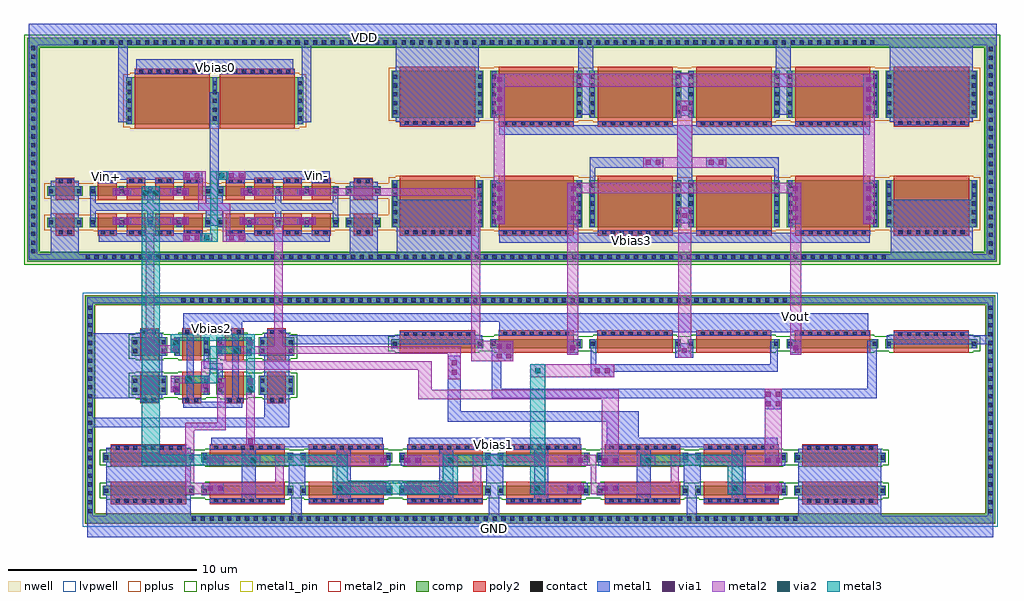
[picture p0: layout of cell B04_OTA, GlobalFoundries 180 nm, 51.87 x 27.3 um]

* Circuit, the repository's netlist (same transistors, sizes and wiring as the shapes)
* Extracted by KLayout with GF180MCU LVS runset on : 18/08/2026 17:05

.SUBCKT B04_OTA Vbias1 Vbias2 Vout VDD Vin\x2d Vin+ Vbias3 Vbias0 GND
M$1 \$16 Vbias0 VDD VDD pfet_03v3 L=4U W=5U AS=1.75P AD=1.75P PS=8.9U PD=8.9U
M$3 Vout Vbias3 \$19 VDD pfet_03v3 L=4U W=5U AS=2.2P AD=2.2P PS=11.76U PD=11.76U
M$5 VDD \$11 \$19 VDD pfet_03v3 L=4U W=5U AS=2.2P AD=2.2P PS=11.76U PD=11.76U
M$7 VDD \$11 \$21 VDD pfet_03v3 L=4U W=5U AS=2.2P AD=2.2P PS=11.76U PD=11.76U
M$9 \$21 Vbias3 \$11 VDD pfet_03v3 L=4U W=5U AS=2.2P AD=2.2P PS=11.76U PD=11.76U
M$11 VDD VDD VDD VDD pfet_03v3 L=4U W=10U AS=4.4P AD=4.4P PS=23.52U PD=23.52U
M$15 \$3 Vin+ \$16 VDD pfet_03v3 L=1U W=2U AS=0.61P AD=0.61P PS=4.94U PD=4.94U
M$19 \$4 Vin\x2d \$16 VDD pfet_03v3 L=1U W=2U AS=0.61P AD=0.61P PS=4.94U
+ PD=4.94U
M$23 \$5 Vin\x2d \$16 VDD pfet_03v3 L=1U W=2U AS=0.61P AD=0.61P PS=4.94U
+ PD=4.94U
M$27 \$9 Vin+ \$16 VDD pfet_03v3 L=1U W=2U AS=0.61P AD=0.61P PS=4.94U PD=4.94U
M$31 \$2 Vbias2 \$5 GND nfet_03v3 L=1U W=2U AS=0.88P AD=0.88P PS=5.76U PD=5.76U
M$32 \$9 Vbias2 \$7 GND nfet_03v3 L=1U W=2U AS=0.88P AD=0.88P PS=5.76U PD=5.76U
M$33 GND GND GND GND nfet_03v3 L=1U W=4U AS=1.76P AD=1.76P PS=11.52U PD=11.52U
M$39 VDD VDD VDD VDD pfet_03v3 L=1U W=2U AS=0.88P AD=0.88P PS=7.52U PD=7.52U
M$43 GND \$5 \$2 GND nfet_03v3 L=4U W=1U AS=0.44P AD=0.44P PS=3.76U PD=3.76U
M$44 \$3 Vbias1 GND GND nfet_03v3 L=4U W=1U AS=0.44P AD=0.44P PS=3.76U PD=3.76U
M$45 \$3 \$5 GND GND nfet_03v3 L=4U W=1U AS=0.44P AD=0.44P PS=3.76U PD=3.76U
M$46 GND Vbias1 \$4 GND nfet_03v3 L=4U W=1U AS=0.44P AD=0.44P PS=3.76U PD=3.76U
M$47 GND \$9 \$4 GND nfet_03v3 L=4U W=1U AS=0.44P AD=0.44P PS=3.76U PD=3.76U
M$48 \$7 \$9 GND GND nfet_03v3 L=4U W=1U AS=0.44P AD=0.44P PS=3.76U PD=3.76U
M$49 GND GND GND GND nfet_03v3 L=4U W=3U AS=1.32P AD=1.32P PS=11.28U PD=11.28U
M$52 \$3 Vbias2 \$11 GND nfet_03v3 L=4U W=1U AS=0.44P AD=0.44P PS=3.76U PD=3.76U
M$56 \$4 Vbias2 Vout GND nfet_03v3 L=4U W=1U AS=0.44P AD=0.44P PS=3.76U PD=3.76U
.ENDS B04_OTA

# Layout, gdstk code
import gdstk
lib = gdstk.Library(unit=1e-6, precision=1e-09)
def R(c, l, rs):  # rectangles x0, y0, x1, y1
    for r in rs: c.add(gdstk.rectangle(r[:2], r[2:], *l))
def A(c, l, x, y, w, h, nx, ny, dx, dy):  # array of equal rectangles
    R(c, l, [(x+i*dx, y+j*dy, x+i*dx+w, y+j*dy+h) for i in range(nx) for j in range(ny)])
nwell = (21, 0)
comp = (22, 0)
poly2 = (30, 0)
pplus = (31, 0)
nplus = (32, 0)
contact = (33, 0)
metal1 = (34, 0)
metal1_pin = (34, 10)
via1 = (35, 0)
metal2 = (36, 0)
metal2_pin = (36, 10)
via2 = (38, 0)
metal3 = (42, 0)
lvpwell = (204, 0)

nfet_03v3_2m8gy8 = lib.new_cell('nfet_03v3_2M8GY8')
R(nfet_03v3_2m8gy8, comp, [(-2.44,-0.37,2.44,0.13)])
R(nfet_03v3_2m8gy8, poly2, [(-2,-0.59,2,0.59)])
R(nfet_03v3_2m8gy8, nplus, [(-2.23,-0.6,2.23,-0.53), (-2.6,-0.53,2.6,0.29), (-2.23,0.29,2.23,0.36)])
A(nfet_03v3_2m8gy8, contact, -1.755, 0.3, 0.22, 0.22, 8, 1, 0.47, 0)
R(nfet_03v3_2m8gy8, contact, [(-2.37,-0.23,-2.15,-0.01), (2.15,-0.23,2.37,-0.01)])
R(nfet_03v3_2m8gy8, metal1, [(-2.375,-0.36,-2.145,0.12), (2.145,-0.36,2.375,0.12), (-1.99,0.295,1.99,0.525)])
R(nfet_03v3_2m8gy8, lvpwell, [(-2.56,-0.71,2.56,0.71)])

nfet_03v3_ppzgc5 = lib.new_cell('nfet_03v3_PPZGC5')
R(nfet_03v3_ppzgc5, comp, [(-2.44,-0.13,2.44,0.37)])
R(nfet_03v3_ppzgc5, poly2, [(-2,-0.59,2,0.59)])
R(nfet_03v3_ppzgc5, nplus, [(-2.23,-0.36,2.23,-0.29), (-2.6,-0.29,2.6,0.53), (-2.23,0.53,2.23,0.6)])
A(nfet_03v3_ppzgc5, contact, -1.755, -0.52, 0.22, 0.22, 8, 1, 0.47, 0)
R(nfet_03v3_ppzgc5, contact, [(-2.37,0.01,-2.15,0.23), (2.15,0.01,2.37,0.23)])
R(nfet_03v3_ppzgc5, metal1, [(-1.99,-0.525,1.99,-0.295), (-2.375,-0.12,-2.145,0.36), (2.145,-0.12,2.375,0.36)])
R(nfet_03v3_ppzgc5, lvpwell, [(-2.56,-0.71,2.56,0.71)])

pfet_03v3_wljepm = lib.new_cell('pfet_03v3_WLJEPM')
R(pfet_03v3_wljepm, nwell, [(-1.37,-1.02,1.37,1.02)])
R(pfet_03v3_wljepm, comp, [(-0.94,-0.13,0.94,0.37)])
R(pfet_03v3_wljepm, poly2, [(-0.5,-0.59,0.5,0.59)])
R(pfet_03v3_wljepm, pplus, [(-0.73,-0.36,0.73,-0.29), (-1.1,-0.29,1.1,0.53), (-0.73,0.53,0.73,0.6)])
R(pfet_03v3_wljepm, contact, [(-0.345,-0.52,-0.125,-0.3), (0.125,-0.52,0.345,-0.3), (-0.87,0.01,-0.65,0.23), (0.65,0.01,0.87,0.23)])
R(pfet_03v3_wljepm, metal1, [(-0.49,-0.525,0.49,-0.295), (-0.875,-0.12,-0.645,0.36), (0.645,-0.12,0.875,0.36)])

pfet_03v3_6kzzre = lib.new_cell('pfet_03v3_6KZZRE')
R(pfet_03v3_6kzzre, nwell, [(-1.37,-1.02,1.37,1.02)])
R(pfet_03v3_6kzzre, comp, [(-0.94,-0.37,0.94,0.13)])
R(pfet_03v3_6kzzre, poly2, [(-0.5,-0.59,0.5,0.59)])
R(pfet_03v3_6kzzre, pplus, [(-0.73,-0.6,0.73,-0.53), (-1.1,-0.53,1.1,0.29), (-0.73,0.29,0.73,0.36)])
R(pfet_03v3_6kzzre, contact, [(-0.87,-0.23,-0.65,-0.01), (0.65,-0.23,0.87,-0.01), (-0.345,0.3,-0.125,0.52), (0.125,0.3,0.345,0.52)])
R(pfet_03v3_6kzzre, metal1, [(-0.875,-0.36,-0.645,0.12), (0.645,-0.36,0.875,0.12), (-0.49,0.295,0.49,0.525)])

nfet_03v3_bn4d6p = lib.new_cell('nfet_03v3_BN4D6P')
R(nfet_03v3_bn4d6p, comp, [(-0.94,-0.38,0.94,0.62)])
R(nfet_03v3_bn4d6p, poly2, [(-0.5,-0.84,0.5,0.84)])
R(nfet_03v3_bn4d6p, nplus, [(-0.73,-0.61,0.73,-0.54), (-1.1,-0.54,1.1,0.78), (-0.73,0.78,0.73,0.85)])
R(nfet_03v3_bn4d6p, contact, [(-0.345,-0.77,-0.125,-0.55), (0.125,-0.77,0.345,-0.55), (-0.87,-0.225,-0.65,-0.005), (0.65,-0.225,0.87,-0.005), (-0.87,0.245,-0.65,0.465), (0.65,0.245,0.87,0.465)])
R(nfet_03v3_bn4d6p, metal1, [(-0.49,-0.775,0.49,-0.545), (-0.875,-0.37,-0.645,0.61), (0.645,-0.37,0.875,0.61)])
R(nfet_03v3_bn4d6p, lvpwell, [(-1.06,-0.96,1.06,0.96)])

nfet_03v3_vm6bb4 = lib.new_cell('nfet_03v3_VM6BB4')
R(nfet_03v3_vm6bb4, comp, [(-0.94,-0.62,0.94,0.38)])
R(nfet_03v3_vm6bb4, poly2, [(-0.5,-0.84,0.5,0.84)])
R(nfet_03v3_vm6bb4, nplus, [(-0.73,-0.85,0.73,-0.78), (-1.1,-0.78,1.1,0.54), (-0.73,0.54,0.73,0.61)])
R(nfet_03v3_vm6bb4, contact, [(-0.87,-0.465,-0.65,-0.245), (0.65,-0.465,0.87,-0.245), (-0.87,0.005,-0.65,0.225), (0.65,0.005,0.87,0.225), (-0.345,0.55,-0.125,0.77), (0.125,0.55,0.345,0.77)])
R(nfet_03v3_vm6bb4, metal1, [(-0.875,-0.61,-0.645,0.37), (0.645,-0.61,0.875,0.37), (-0.49,0.545,0.49,0.775)])
R(nfet_03v3_vm6bb4, lvpwell, [(-1.06,-0.96,1.06,0.96)])

pfet_03v3_p2re22 = lib.new_cell('pfet_03v3_P2RE22')
R(pfet_03v3_p2re22, nwell, [(-3.65,-1.02,3.65,1.02)])
R(pfet_03v3_p2re22, comp, [(-3.22,-0.13,3.22,0.37)])
A(pfet_03v3_p2re22, poly2, -2.78, -0.59, 1, 1.18, 4, 1, 1.52, 0)
R(pfet_03v3_p2re22, pplus, [(-3.01,-0.36,3.01,-0.29), (-3.38,-0.29,3.38,0.53), (-3.01,0.53,3.01,0.6)])
A(pfet_03v3_p2re22, contact, -3.15, 0.01, 0.22, 0.22, 5, 1, 1.52, 0)
R(pfet_03v3_p2re22, contact, [(-2.625,-0.52,-2.405,-0.3), (-2.155,-0.52,-1.935,-0.3), (-1.105,-0.52,-0.885,-0.3), (-0.635,-0.52,-0.415,-0.3), (0.415,-0.52,0.635,-0.3), (0.885,-0.52,1.105,-0.3), (1.935,-0.52,2.155,-0.3), (2.405,-0.52,2.625,-0.3)])
A(pfet_03v3_p2re22, metal1, -2.77, -0.525, 0.98, 0.23, 4, 1, 1.52, 0)
A(pfet_03v3_p2re22, metal1, -3.155, -0.12, 0.23, 0.48, 5, 1, 1.52, 0)

pfet_03v3_vsaa3l = lib.new_cell('pfet_03v3_VSAA3L')
R(pfet_03v3_vsaa3l, nwell, [(-3.65,-1.02,3.65,1.02)])
R(pfet_03v3_vsaa3l, comp, [(-3.22,-0.37,3.22,0.13)])
A(pfet_03v3_vsaa3l, poly2, -2.78, -0.59, 1, 1.18, 4, 1, 1.52, 0)
R(pfet_03v3_vsaa3l, pplus, [(-3.01,-0.6,3.01,-0.53), (-3.38,-0.53,3.38,0.29), (-3.01,0.29,3.01,0.36)])
A(pfet_03v3_vsaa3l, contact, -3.15, -0.23, 0.22, 0.22, 5, 1, 1.52, 0)
R(pfet_03v3_vsaa3l, contact, [(-2.625,0.3,-2.405,0.52), (-2.155,0.3,-1.935,0.52), (-1.105,0.3,-0.885,0.52), (-0.635,0.3,-0.415,0.52), (0.415,0.3,0.635,0.52), (0.885,0.3,1.105,0.52), (1.935,0.3,2.155,0.52), (2.405,0.3,2.625,0.52)])
A(pfet_03v3_vsaa3l, metal1, -3.155, -0.36, 0.23, 0.48, 5, 1, 1.52, 0)
A(pfet_03v3_vsaa3l, metal1, -2.77, 0.295, 0.98, 0.23, 4, 1, 1.52, 0)

pfet_03v3_jkk7x9 = lib.new_cell('pfet_03v3_JKK7X9')
R(pfet_03v3_jkk7x9, nwell, [(-2.87,-2.02,2.87,2.02)])
R(pfet_03v3_jkk7x9, comp, [(-2.44,-1.13,2.44,1.37)])
R(pfet_03v3_jkk7x9, poly2, [(-2,-1.59,2,1.59)])
R(pfet_03v3_jkk7x9, pplus, [(-2.23,-1.36,2.23,-1.29), (-2.6,-1.29,2.6,1.53), (-2.23,1.53,2.23,1.6)])
A(pfet_03v3_jkk7x9, contact, -1.755, -1.52, 0.22, 0.22, 8, 1, 0.47, 0)
A(pfet_03v3_jkk7x9, contact, -2.37, -0.93, 0.22, 0.22, 1, 5, 0, 0.47)
A(pfet_03v3_jkk7x9, contact, 2.15, -0.93, 0.22, 0.22, 1, 5, 0, 0.47)
R(pfet_03v3_jkk7x9, metal1, [(-1.99,-1.525,1.99,-1.295), (-2.375,-1.12,-2.145,1.36), (2.145,-1.12,2.375,1.36)])

pfet_03v3_mw6kh8 = lib.new_cell('pfet_03v3_MW6KH8')
R(pfet_03v3_mw6kh8, nwell, [(-5.13,-2.02,5.13,2.02)])
R(pfet_03v3_mw6kh8, comp, [(-4.7,-1.37,4.7,1.13)])
R(pfet_03v3_mw6kh8, poly2, [(-4.26,-1.59,-0.26,1.59), (0.26,-1.59,4.26,1.59)])
R(pfet_03v3_mw6kh8, pplus, [(-4.49,-1.6,4.49,-1.53), (-4.86,-1.53,4.86,1.29), (-4.49,1.29,4.49,1.36)])
A(pfet_03v3_mw6kh8, contact, -4.63, -1.17, 0.22, 0.22, 3, 5, 4.52, 0.47)
A(pfet_03v3_mw6kh8, contact, -4.015, 1.3, 0.22, 0.22, 8, 1, 0.47, 0)
A(pfet_03v3_mw6kh8, contact, 0.505, 1.3, 0.22, 0.22, 8, 1, 0.47, 0)
A(pfet_03v3_mw6kh8, metal1, -4.635, -1.36, 0.23, 2.48, 3, 1, 4.52, 0)
R(pfet_03v3_mw6kh8, metal1, [(-4.25,1.295,-0.27,1.525), (0.27,1.295,4.25,1.525)])

b04_ota = lib.new_cell('B04_OTA')
R(b04_ota, nwell, [(-2.35,-6.8,49.5,5.4)])
R(b04_ota, comp, [(0.9,-20.55,49.25,-20.05), (0.9,-20.05,1.4,-8.95), (48.75,-20.05,49.25,-8.95), (0.9,-8.95,49.25,-8.45), (-2.2,-6.65,49.35,-6.15), (-2.2,-6.15,-1.55,4.75), (48.7,-6.15,49.35,4.75), (-2.2,4.75,49.35,5.25)])
A(b04_ota, pplus, 22.22, -4.97, 0.05, 2.82, 5, 2, 5.25, 5.8)
R(b04_ota, pplus, [(0.88,-20.57,49.27,-20.03), (0.88,-20.03,1.42,-8.97), (48.73,-20.03,49.27,-8.97), (0.88,-8.97,49.27,-8.43), (0.92,-4.97,0.97,-4.15), (7.73,-4.97,7.77,-4.15), (14.53,-4.97,14.57,-4.15), (16.77,-4.97,17.02,-4.15), (0.92,-3.31,0.97,-2.49), (7.73,-3.31,7.77,-2.49), (14.53,-3.31,14.57,-2.49), (16.77,-3.31,17.02,-2.49)])
A(b04_ota, nplus, 6.86, -19.23, 0.05, 0.82, 7, 2, 5.25, 1.76)
A(b04_ota, nplus, 5.41, -13.88, 0.05, 1.32, 3, 2, 2.25, 2.06)
A(b04_ota, nplus, 22.21, -11.42, 0.05, 0.82, 5, 1, 5.25, 0)
R(b04_ota, nplus, [(-2.36,-6.81,49.51,-6.13), (-2.36,-6.13,-1.53,4.73), (48.68,-6.13,49.51,4.73), (-2.36,4.73,49.51,5.41)])
A(b04_ota, contact, 6.56, -20.41, 0.22, 0.22, 69, 1, 0.47, 0)
A(b04_ota, contact, 1.04, -20.015, 0.22, 0.22, 1, 24, 0, 0.47)
A(b04_ota, contact, 48.89, -20.015, 0.22, 0.22, 1, 24, 0, 0.47)
A(b04_ota, contact, 6.01, -8.81, 0.22, 0.22, 69, 1, 0.47, 0)
A(b04_ota, contact, 0.915, -6.51, 0.22, 0.22, 91, 1, 0.47, 0)
A(b04_ota, contact, 48.915, -6.265, 0.22, 0.22, 1, 24, 0, 0.47)
A(b04_ota, contact, -1.985, -6.215, 0.22, 0.22, 1, 24, 0, 0.47)
A(b04_ota, contact, 0.315, 4.89, 0.22, 0.22, 91, 1, 0.47, 0)
A(b04_ota, metal1, 11.85, -20.15, 0.55, 1.15, 3, 1, 10.5, 0)
A(b04_ota, metal1, 11.7, -19, 0.9, 2.15, 3, 1, 10.5, 0)
R(b04_ota, metal1, [(1,-21.3,49.15,-20.15), (1,-20.15,1.3,-15.45), (2,-20.15,6.5,-16.55), (38.8,-20.15,43.2,-16.6), (48.85,-20.15,49.15,-11.05), (9.2,-19.4,9.95,-16.5), (14.25,-19.4,15,-16.5), (19.7,-19.4,20.45,-16.5), (24.75,-19.4,25.5,-16.5), (30.2,-19.4,30.95,-16.5), (35.25,-19.4,36,-16.5), (7.15,-19,8.25,-18.4), (16,-19,17.1,-18.4), (17.65,-19,18.75,-18.4), (26.5,-19,27.6,-18.4), (28.15,-19,29.25,-18.4), (37,-19,38.1,-18.4), (7.15,-17.5,8.25,-16.9), (16,-17.5,17.1,-16.9), (17.65,-17.5,18.75,-16.9), (26.5,-17.5,27.6,-16.9), (28.15,-17.5,29.25,-16.95), (37,-17.5,38.1,-16.9), (28.15,-16.95,28.35,-16.9), (7.6,-16.5,16.7,-16), (18.1,-16.5,27.2,-16), (29.25,-16.5,37.7,-16.45), (28.6,-16.45,37.7,-16), (28.6,-16,30.3,-15.15), (1,-15.45,11.75,-14.95), (20.15,-15.15,30.3,-14.6), (1,-14.95,1.3,-13.9), (10.4,-14.95,11.75,-11.05), (20.15,-14.6,20.85,-11.65), (37,-14.5,37.9,-13.9), (6.1,-14.4,9.25,-14.1), (6.3,-14,6.65,-10.4), (8.7,-13.95,9.05,-10.35), (1,-13.9,5,-10.45), (22.5,-13.9,42.95,-13.4), (5.45,-13.6,5.9,-12.85), (7.05,-13.6,7.5,-12.85), (7.9,-13.6,8.35,-12.85), (9.45,-13.6,9.9,-12.85), (22.5,-13.4,23,-11.95), (42.45,-13.4,42.95,-10.85), (7.95,-12.85,8.2,-12.35), (27.75,-12.8,29,-12.5), (27.75,-12.5,37.7,-12.1), (7.2,-12.35,8.2,-12.05), (27.75,-12.1,28.05,-10.85), (37.3,-12.1,37.7,-10.9), (7.2,-12.05,7.45,-11.3), (22.5,-11.95,23.65,-10.85), (32.25,-11.745,33.2,-10.995), (26.5,-11.6,27.1,-10.85), (38.35,-11.6,38.95,-10.85), (7.9,-11.55,8.35,-10.8), (9.45,-11.55,9.9,-10.8), (5.45,-11.5,5.9,-10.75), (10.4,-11.05,22,-10.55), (43.5,-11.05,49.15,-10.55), (10.4,-10.55,11.75,-10.45), (48.85,-10.55,49.15,-8.85), (1,-10.45,1.3,-8.85), (22.9,-10.4,42.5,-9.85), (6.1,-10.3,9.25,-9.85), (6.1,-9.85,42.5,-9.4), (1,-8.85,49.15,-8.55), (-2.1,-6.55,49.25,-6.25), (-2.1,-6.25,-1.65,4.85), (-0.95,-6.25,0.55,-2.35), (14.95,-6.25,16.45,-2.4), (17.45,-6.25,21.8,-3.35), (43.7,-6.25,48.05,-3.35), (48.8,-6.25,49.25,4.85), (22.9,-5.65,42.6,-5.1), (1.6,-5.6,7.1,-5.15), (8.4,-5.6,13.9,-5.15), (7.3,-4.75,8.2,-3.95), (2.35,-4.7,3.35,-4.3), (5.4,-4.7,6.4,-4.3), (9.1,-4.7,10.1,-4.3), (12.15,-4.7,13.15,-4.3), (22.6,-4.65,23.2,-2.45), (26.5,-4.65,27.1,-2.45), (38.35,-4.65,38.95,-2.45), (42.25,-4.65,42.85,-2.45), (32.35,-4.595,33.15,0.105), (1.15,-4.55,1.45,-3.95), (4.2,-4.55,4.5,-3.95), (11,-4.55,11.3,-3.95), (14.05,-4.55,14.35,-3.95), (1.15,-3.95,14.35,-3.55), (1.15,-3.55,1.45,-2.9), (4.2,-3.55,4.5,-2.9), (7.3,-3.55,8.2,-2.7), (11,-3.55,11.3,-2.9), (14.05,-3.55,14.35,-2.9), (2.35,-3.15,3.35,-2.75), (5.4,-3.15,6.4,-2.75), (9.15,-3.15,10.15,-2.75), (12.15,-3.15,13.15,-2.75), (7.5,-2.7,8,2.35), (27.7,-2.35,28,-1.65), (37.5,-2.35,37.75,-1.65), (1.6,-2.3,7.1,-1.85), (8.4,-2.3,13.9,-1.85), (27.7,-1.65,31.6,-1.1), (33.9,-1.65,37.75,-1.1), (22.9,0.105,42.6,0.605), (2.65,0.75,3.2,1), (12.35,0.75,12.9,1), (17.4,0.8,21.8,4.85), (43.65,0.8,48.05,4.85), (2.65,1,3.15,4.85), (12.4,1,12.9,4.85), (32.3,1.1,33.2,3.4), (22.6,1.15,23.2,3.35), (27.1,1.15,27.9,4.85), (37.6,1.15,38.4,4.85), (42.25,1.15,42.85,3.35), (4.9,3.35,6.05,3.5), (9.5,3.35,10.65,3.5), (3.6,3.5,11.95,4.1), (-2.1,4.85,49.35,6)])
R(b04_ota, metal1_pin, [(22.4,-21,22.9,-20.7), (22.4,-16.4,22.8,-16.3), (7.5,-10.25,7.75,-10.1), (29.75,-5.65,30.05,-5.45), (1.7,-2.15,2.3,-2.05), (12.85,-2.15,13.5,-1.95), (7.45,3.6,8.2,3.75), (15.15,5.1,16.35,5.4)])
A(b04_ota, via1, 22.795, -4.46, 0.26, 0.26, 1, 4, 0, 0.52)
A(b04_ota, via1, 26.695, -4.46, 0.26, 0.26, 1, 4, 0, 0.52)
A(b04_ota, via1, 38.495, -4.46, 0.26, 0.26, 1, 4, 0, 0.52)
A(b04_ota, via1, 42.395, -4.46, 0.26, 0.26, 1, 4, 0, 0.52)
A(b04_ota, via1, 22.795, 1.34, 0.26, 0.26, 1, 4, 0, 0.52)
A(b04_ota, via1, 42.395, 1.34, 0.26, 0.26, 1, 4, 0, 0.52)
R(b04_ota, via1, [(7.41,-18.83,7.67,-18.57), (7.93,-18.83,8.19,-18.57), (16.06,-18.83,16.32,-18.57), (16.58,-18.83,16.84,-18.57), (17.91,-18.83,18.17,-18.57), (18.43,-18.83,18.69,-18.57), (26.56,-18.83,26.82,-18.57), (27.08,-18.83,27.34,-18.57), (28.41,-18.83,28.67,-18.57), (28.93,-18.83,29.19,-18.57), (37.06,-18.83,37.32,-18.57), (37.58,-18.83,37.84,-18.57), (28.41,-17.355,28.67,-17.095), (28.93,-17.355,29.19,-17.095), (7.41,-17.33,7.67,-17.07), (7.93,-17.33,8.19,-17.07), (16.06,-17.33,16.32,-17.07), (16.58,-17.33,16.84,-17.07), (17.91,-17.33,18.17,-17.07), (18.43,-17.33,18.69,-17.07), (26.56,-17.33,26.82,-17.07), (27.08,-17.33,27.34,-17.07), (37.06,-17.33,37.32,-17.07), (37.58,-17.33,37.84,-17.07), (9.545,-16.33,9.805,-16.07), (37.06,-14.34,37.32,-14.08), (37.58,-14.34,37.84,-14.08), (37.06,-13.82,37.32,-13.56), (37.58,-13.82,37.84,-13.56), (5.545,-13.53,5.805,-13.27), (7.145,-13.355,7.405,-13.095), (7.995,-13.355,8.255,-13.095), (9.545,-13.18,9.805,-12.92), (20.37,-12.665,20.63,-12.405), (27.985,-12.58,28.245,-12.32), (28.505,-12.58,28.765,-12.32), (20.37,-12.145,20.63,-11.885), (22.76,-11.79,23.02,-11.53), (23.28,-11.79,23.54,-11.53), (32.595,-11.5,32.855,-11.24), (5.545,-11.43,5.805,-11.17), (26.67,-11.355,26.93,-11.095), (38.52,-11.355,38.78,-11.095), (7.995,-11.305,8.255,-11.045), (22.76,-11.27,23.02,-11.01), (23.28,-11.27,23.54,-11.01), (9.545,-11.13,9.805,-10.87), (6.185,-5.505,6.445,-5.245), (6.705,-5.505,6.965,-5.245), (8.535,-5.505,8.795,-5.245), (9.055,-5.505,9.315,-5.245), (2.46,-4.63,2.72,-4.37), (2.98,-4.63,3.24,-4.37), (5.51,-4.63,5.77,-4.37), (6.03,-4.63,6.29,-4.37), (9.21,-4.63,9.47,-4.37), (9.73,-4.63,9.99,-4.37), (12.26,-4.63,12.52,-4.37), (12.78,-4.63,13.04,-4.37), (32.62,-4.325,32.88,-4.065), (2.46,-3.08,2.72,-2.82), (2.98,-3.08,3.24,-2.82), (5.51,-3.08,5.77,-2.82), (6.03,-3.08,6.29,-2.82), (9.26,-3.08,9.52,-2.82), (9.78,-3.08,10.04,-2.82), (12.26,-3.08,12.52,-2.82), (12.78,-3.08,13.04,-2.82), (6.185,-2.205,6.445,-1.945), (6.705,-2.205,6.965,-1.945), (8.535,-2.205,8.795,-1.945), (9.055,-2.205,9.315,-1.945), (30.685,-1.505,30.945,-1.245), (31.205,-1.505,31.465,-1.245), (34.035,-1.505,34.295,-1.245), (34.555,-1.505,34.815,-1.245), (32.62,1.37,32.88,1.63)])
A(b04_ota, metal2, 14.05, -19, 2.85, 0.6, 3, 1, 10.5, 0)
A(b04_ota, metal2, 11, -18.4, 0.45, 0.9, 3, 1, 10.5, 0)
A(b04_ota, metal2, 7.35, -17.5, 2.85, 0.6, 3, 1, 10.5, 0)
R(b04_ota, metal2, [(6.2,-19,11.45,-18.4), (17.85,-19,21.95,-18.4), (27.75,-19,32.45,-18.4), (6.2,-18.4,6.7,-15.6), (27.75,-18.4,28.05,-17.5), (11,-17.5,16.9,-16.9), (21.5,-17.5,28.05,-16.9), (32,-17.5,37.9,-16.9), (28.35,-16.9,29.25,-13.95), (37,-16.9,37.9,-13.4), (9.45,-16.4,9.9,-12.85), (6.2,-15.6,8.35,-15.2), (7.9,-15.2,8.35,-12.85), (18.6,-13.95,29.25,-13.45), (5.45,-13.6,5.9,-13.1), (7.05,-13.6,7.5,-12.4), (18.6,-13.45,19.3,-12.4), (5.45,-13.1,6.65,-12.7), (20.15,-12.9,20.85,-11.55), (24.55,-12.8,29,-12.1), (7.05,-12.4,19.3,-11.95), (7.9,-11.95,8.35,-10.8), (21.4,-11.95,23.65,-10.85), (32.4,-11.745,33.1,-3.795), (26.5,-11.6,27.1,-3), (38.35,-11.6,38.95,-3), (8.7,-11.55,20.85,-11.15), (4.1,-11.5,5.9,-11.1), (9.45,-11.15,9.9,-10.8), (10.95,-11.15,11.4,-4.7), (4.1,-11.1,4.55,-4.7), (5.45,-11.1,5.9,-10.75), (21.4,-10.85,21.9,-3.15), (6.1,-5.6,7.65,-5.15), (8.2,-5.6,9.4,-5.15), (8.2,-5.15,8.6,-3.95), (2.35,-4.7,6.4,-4.3), (9.1,-4.7,13.15,-4.3), (22.6,-4.65,23.2,2.65), (42.25,-4.65,42.85,2.65), (6.9,-3.95,8.6,-3.55), (6.9,-3.55,7.3,-2.3), (3.9,-3.35,4.85,-3.15), (2.35,-3.15,6.4,-2.75), (9.15,-3.15,21.9,-2.75), (26.5,-3,38.95,-2.45), (3.9,-2.75,4.85,-2.65), (6.1,-2.3,7.3,-1.85), (7.85,-2.3,9.4,-1.85), (30.55,-1.65,34.95,-1.1), (32.35,-1.1,33.15,1.9), (22.6,2.65,42.85,3.35)])
R(b04_ota, metal2_pin, [(38.55,-9.65,38.75,-9.5)])
A(b04_ota, via2, 14.295, -18.83, 0.26, 0.26, 3, 1, 10.5, 0)
A(b04_ota, via2, 9.695, -17.33, 0.26, 0.26, 3, 1, 10.5, 0)
R(b04_ota, via2, [(9.545,-13.53,9.805,-13.27), (6.295,-13.03,6.555,-12.77), (24.82,-12.58,25.08,-12.32), (8.795,-11.48,9.055,-11.22), (5.545,-11.08,5.805,-10.82), (7.22,-5.505,7.48,-5.245), (3.985,-3.13,4.245,-2.87), (4.505,-3.13,4.765,-2.87), (8.02,-2.205,8.28,-1.945)])
R(b04_ota, metal3, [(14.05,-19,20.7,-18.3), (24.55,-19,25.35,-17.5), (35.05,-19,35.85,-17.5), (14.05,-18.3,14.85,-17.5), (19.9,-18.3,20.7,-17.5), (3.9,-17.5,14.85,-16.9), (19.9,-17.5,25.35,-16.9), (30.4,-17.5,35.85,-16.9), (3.9,-16.9,4.85,-2.65), (24.55,-16.9,25.35,-12.1), (9.45,-13.6,9.9,-10.85), (6.2,-13.1,7.9,-12.7), (7.5,-12.7,7.9,-11.55), (7.5,-11.55,9.15,-11.15), (5.45,-11.5,5.9,-10.85), (5.45,-10.85,9.9,-10.5), (7,-5.6,7.95,-5.15), (7.55,-5.15,7.95,-2.3), (7.55,-2.3,8.5,-1.85)])
R(b04_ota, lvpwell, [(0.75,-20.75,49.4,-8.3)])
b04_ota.add(gdstk.Reference(nfet_03v3_2m8gy8, (4.26,-16.94)))
b04_ota.add(gdstk.Reference(nfet_03v3_ppzgc5, (4.26,-18.94)))
b04_ota.add(gdstk.Reference(nfet_03v3_2m8gy8, (9.51,-16.94)))
b04_ota.add(gdstk.Reference(nfet_03v3_ppzgc5, (9.51,-18.94)))
b04_ota.add(gdstk.Reference(nfet_03v3_2m8gy8, (20.01,-16.94)))
b04_ota.add(gdstk.Reference(nfet_03v3_2m8gy8, (25.26,-16.94)))
b04_ota.add(gdstk.Reference(nfet_03v3_2m8gy8, (14.76,-16.94)))
b04_ota.add(gdstk.Reference(nfet_03v3_ppzgc5, (20.01,-18.94)))
b04_ota.add(gdstk.Reference(nfet_03v3_ppzgc5, (25.26,-18.94)))
b04_ota.add(gdstk.Reference(nfet_03v3_ppzgc5, (14.76,-18.94)))
b04_ota.add(gdstk.Reference(nfet_03v3_2m8gy8, (35.76,-16.94)))
b04_ota.add(gdstk.Reference(nfet_03v3_2m8gy8, (30.51,-16.94)))
b04_ota.add(gdstk.Reference(nfet_03v3_ppzgc5, (35.76,-18.94)))
b04_ota.add(gdstk.Reference(nfet_03v3_ppzgc5, (30.51,-18.94)))
b04_ota.add(gdstk.Reference(nfet_03v3_2m8gy8, (41.01,-16.94)))
b04_ota.add(gdstk.Reference(nfet_03v3_ppzgc5, (41.01,-18.94)))
b04_ota.add(gdstk.Reference(pfet_03v3_wljepm, (-0.18,-4.68)))
b04_ota.add(gdstk.Reference(pfet_03v3_6kzzre, (-0.18,-2.78)))
b04_ota.add(gdstk.Reference(nfet_03v3_bn4d6p, (8.81,-13.34)))
b04_ota.add(gdstk.Reference(nfet_03v3_bn4d6p, (11.06,-13.34)))
b04_ota.add(gdstk.Reference(nfet_03v3_bn4d6p, (6.56,-13.34)))
b04_ota.add(gdstk.Reference(nfet_03v3_bn4d6p, (4.31,-13.34)))
b04_ota.add(gdstk.Reference(nfet_03v3_vm6bb4, (8.81,-11.04)))
b04_ota.add(gdstk.Reference(nfet_03v3_vm6bb4, (11.06,-11.04)))
b04_ota.add(gdstk.Reference(nfet_03v3_vm6bb4, (4.31,-11.04)))
b04_ota.add(gdstk.Reference(nfet_03v3_vm6bb4, (6.56,-11.04)))
b04_ota.add(gdstk.Reference(pfet_03v3_p2re22, (11.15,-4.68)))
b04_ota.add(gdstk.Reference(pfet_03v3_p2re22, (4.35,-4.68)))
b04_ota.add(gdstk.Reference(pfet_03v3_vsaa3l, (11.15,-2.78)))
b04_ota.add(gdstk.Reference(pfet_03v3_vsaa3l, (4.35,-2.78)))
b04_ota.add(gdstk.Reference(nfet_03v3_2m8gy8, (19.61,-10.89)))
b04_ota.add(gdstk.Reference(nfet_03v3_2m8gy8, (24.86,-10.89)))
b04_ota.add(gdstk.Reference(pfet_03v3_wljepm, (15.67,-4.68)))
b04_ota.add(gdstk.Reference(pfet_03v3_6kzzre, (15.67,-2.78)))
b04_ota.add(gdstk.Reference(pfet_03v3_jkk7x9, (19.62,-3.68)))
b04_ota.add(gdstk.Reference(pfet_03v3_jkk7x9, (24.87,-3.68)))
b04_ota.add(gdstk.Reference(nfet_03v3_2m8gy8, (30.11,-10.89)))
b04_ota.add(gdstk.Reference(nfet_03v3_2m8gy8, (35.36,-10.89)))
b04_ota.add(gdstk.Reference(pfet_03v3_jkk7x9, (30.12,-3.68)))
b04_ota.add(gdstk.Reference(pfet_03v3_jkk7x9, (35.37,-3.68)))
b04_ota.add(gdstk.Reference(nfet_03v3_2m8gy8, (45.86,-10.89)))
b04_ota.add(gdstk.Reference(nfet_03v3_2m8gy8, (40.61,-10.89)))
b04_ota.add(gdstk.Reference(pfet_03v3_jkk7x9, (45.87,-3.68)))
b04_ota.add(gdstk.Reference(pfet_03v3_jkk7x9, (40.62,-3.68)))
b04_ota.add(gdstk.Reference(pfet_03v3_mw6kh8, (7.78,2.02)))
b04_ota.add(gdstk.Reference(pfet_03v3_jkk7x9, (19.62,2.12)))
b04_ota.add(gdstk.Reference(pfet_03v3_jkk7x9, (24.87,2.12)))
b04_ota.add(gdstk.Reference(pfet_03v3_jkk7x9, (30.12,2.12)))
b04_ota.add(gdstk.Reference(pfet_03v3_jkk7x9, (35.37,2.12)))
b04_ota.add(gdstk.Reference(pfet_03v3_jkk7x9, (45.87,2.12)))
b04_ota.add(gdstk.Reference(pfet_03v3_jkk7x9, (40.62,2.12)))
b04_ota.add(gdstk.Label('VDD', (15.75,5.25), layer=34, texttype=10))
b04_ota.add(gdstk.Label('GND', (22.65,-20.85), layer=34, texttype=10))
b04_ota.add(gdstk.Label('Vin+', (2,-2.1), layer=34, texttype=10))
b04_ota.add(gdstk.Label('Vin-', (13.175,-2.05), layer=34, texttype=10))
b04_ota.add(gdstk.Label('Vout', (38.65,-9.575), layer=36, texttype=10))
b04_ota.add(gdstk.Label('Vbias0', (7.825,3.675), layer=34, texttype=10))
b04_ota.add(gdstk.Label('Vbias1', (22.6,-16.35), layer=34, texttype=10))
b04_ota.add(gdstk.Label('Vbias2', (7.625,-10.175), layer=34, texttype=10))
b04_ota.add(gdstk.Label('Vbias3', (29.9,-5.55), layer=34, texttype=10))

lib.write_gds('B04_OTA.gds')
